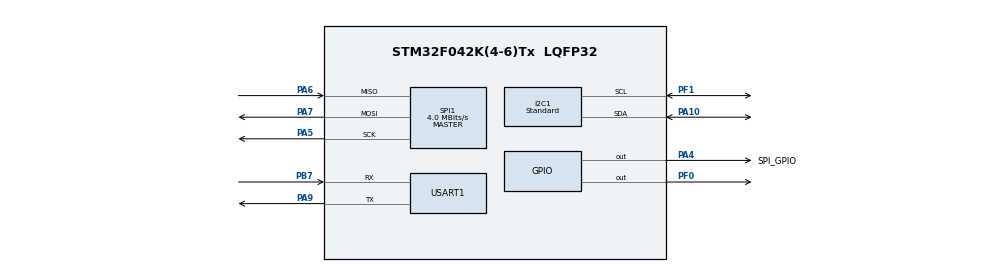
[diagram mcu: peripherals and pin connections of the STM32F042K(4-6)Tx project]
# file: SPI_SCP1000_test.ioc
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I2C1.Analog_Filter=I2C_ANALOGFILTER_DISABLE
I2C1.I2C_Speed_Mode=I2C_Standard
I2C1.Timing=0x00101D2D
Mcu.Family=STM32F0
Mcu.Name=STM32F042K(4-6)Tx
Mcu.Package=LQFP32
PA10.Mode=I2C
PA10.Signal=I2C1_SDA
PA4.GPIO_Label=SPI_GPIO
PA4.Signal=GPIO_Output
PA5.Mode=Full_Duplex_Master
PA5.Signal=SPI1_SCK
PA6.Mode=Full_Duplex_Master
PA6.Signal=SPI1_MISO
PA7.Mode=Full_Duplex_Master
PA7.Signal=SPI1_MOSI
PA9.Mode=Asynchronous
PA9.Signal=USART1_TX
PB7.Mode=Asynchronous
PB7.Signal=USART1_RX
PF0-OSC_IN.Signal=GPIO_Output
PF1-OSC_OUT.Mode=I2C
PF1-OSC_OUT.Signal=I2C1_SCL
ProjectManager.HeapSize=0x200
ProjectManager.StackSize=0x400
ProjectManager.TargetToolchain=SW4STM32
SPI1.CalculateBaudRate=4.0 MBits/s
SPI1.DataSize=SPI_DATASIZE_8BIT
SPI1.Direction=SPI_DIRECTION_2LINES
SPI1.Mode=SPI_MODE_MASTER
SPI1.NSSPMode=SPI_NSS_PULSE_DISABLE
SPI1.VirtualType=VM_MASTER
USART1.VirtualMode-Asynchronous=VM_ASYNC
board=custom

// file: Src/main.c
/**
  ******************************************************************************
  * @file           : main.c
  * @brief          : Main program body
  ******************************************************************************
  ** This notice applies to any and all portions of this file
  * that are not between comment pairs USER CODE BEGIN and
  * USER CODE END. Other portions of this file, whether
  * inserted by the user or by software development tools
  * are owned by their respective copyright owners.
  *
  * COPYRIGHT(c) 2018 STMicroelectronics
  *
  * Redistribution and use in source and binary forms, with or without modification,
  * are permitted provided that the following conditions are met:
  *   1. Redistributions of source code must retain the above copyright notice,
  *      this list of conditions and the following disclaimer.
  *   2. Redistributions in binary form must reproduce the above copyright notice,
  *      this list of conditions and the following disclaimer in the documentation
  *      and/or other materials provided with the distribution.
  *   3. Neither the name of STMicroelectronics nor the names of its contributors
  *      may be used to endorse or promote products derived from this software
  *      without specific prior written permission.
  *
  * THIS SOFTWARE IS PROVIDED BY THE COPYRIGHT HOLDERS AND CONTRIBUTORS "AS IS"
  * AND ANY EXPRESS OR IMPLIED WARRANTIES, INCLUDING, BUT NOT LIMITED TO, THE
  * IMPLIED WARRANTIES OF MERCHANTABILITY AND FITNESS FOR A PARTICULAR PURPOSE ARE
  * DISCLAIMED. IN NO EVENT SHALL THE COPYRIGHT HOLDER OR CONTRIBUTORS BE LIABLE
  * FOR ANY DIRECT, INDIRECT, INCIDENTAL, SPECIAL, EXEMPLARY, OR CONSEQUENTIAL
  * DAMAGES (INCLUDING, BUT NOT LIMITED TO, PROCUREMENT OF SUBSTITUTE GOODS OR
  * SERVICES; LOSS OF USE, DATA, OR PROFITS; OR BUSINESS INTERRUPTION) HOWEVER
  * CAUSED AND ON ANY THEORY OF LIABILITY, WHETHER IN CONTRACT, STRICT LIABILITY,
  * OR TORT (INCLUDING NEGLIGENCE OR OTHERWISE) ARISING IN ANY WAY OUT OF THE USE
  * OF THIS SOFTWARE, EVEN IF ADVISED OF THE POSSIBILITY OF SUCH DAMAGE.
  *
  ******************************************************************************
  */
#include "main.h"
#include "stm32f0xx_hal.h"

/* USER CODE BEGIN Includes */
#include <string.h>
/* USER CODE END Includes */

I2C_HandleTypeDef hi2c1;

SPI_HandleTypeDef hspi1;

UART_HandleTypeDef huart1;

/* USER CODE BEGIN PV */
/* Private variables ---------------------------------------------------------*/

/* USER CODE END PV */

void SystemClock_Config(void);
static void MX_GPIO_Init(void);
static void MX_I2C1_Init(void);
static void MX_USART1_UART_Init(void);
static void MX_SPI1_Init(void);

/* USER CODE BEGIN PFP */
/* Private function prototypes -----------------------------------------------*/
void LCD_Init();
int LCD_WriteData(uint8_t data);
void HelloWorld();
/* USER CODE END PFP */

int main(void)
{

  /* MCU Configuration----------------------------------------------------------*/

  /* Reset of all peripherals, Initializes the Flash interface and the Systick. */
  HAL_Init();

  /* Configure the system clock */
  SystemClock_Config();

  /* Initialize all configured peripherals */
  MX_GPIO_Init();
  MX_I2C1_Init();
  MX_USART1_UART_Init();
  MX_SPI1_Init();
  /* USER CODE BEGIN 2 */
  HAL_Delay(10);
  LCD_Init();
  HAL_Delay(10);

  char 	aRxBuffer[2];
  char 	aTxBuffer[2];
  uint8_t aSPITxBuffer[3];
  uint8_t aSPIRxBuffer[3];
  char  rxbuf[2];
  char  txbuf1[] = "Sensor Failed! \r\n";
  char  txbuf2[] = "Sensor Wakeup Successful! \r\n";
  char  txbuf3[] = "Data Received! \r\n";
  char 	str[32];
  HelloWorld();
  char oper = 0;
  char stat = 0;
  uint32_t pres = 0;
  int temp = 0;

  HAL_Delay(60);

  /* USER CODE END 2 */

  /* Infinite loop */
  while (1)
  {

  /* USER CODE BEGIN 3 */
	  if(oper == 0)
	  {
		  aSPITxBuffer[0] = (0x07<<2) | 0x00; // resister address and read/write bit

		  HAL_GPIO_WritePin(GPIOA,SPI_GPIO_Pin,0);
		  HAL_SPI_TransmitReceive(&hspi1,(uint8_t*)aSPITxBuffer,(uint8_t*)aSPIRxBuffer,2,2000);
		  HAL_GPIO_WritePin(GPIOA,SPI_GPIO_Pin,1);

		  HAL_UART_Transmit(&huart1, (uint8_t*)aSPIRxBuffer, sizeof(aSPIRxBuffer), 0xFFFF);
		  HAL_UART_Transmit(&huart1, "Data Received!\r\n", sizeof("Data Received!\r\n"), 0xFFFF);
		  HAL_Delay(10);

		  if(aSPIRxBuffer[1] & 0x01)
		  {
			  if(stat > 6)
				  HAL_UART_Transmit(&huart1, (uint8_t *)txbuf1, sizeof(txbuf1), 0xFFFF);
		  }else{
			  aSPITxBuffer[0] = (0x1F<<2) | 0x00; // resister address and read/write bit

			  HAL_GPIO_WritePin(GPIOA,SPI_GPIO_Pin,0);
			  HAL_SPI_TransmitReceive(&hspi1,(uint8_t*)aSPITxBuffer,(uint8_t*)aSPIRxBuffer,2,2000);
			  HAL_GPIO_WritePin(GPIOA,SPI_GPIO_Pin,1);

			  HAL_UART_Transmit(&huart1, "Data Received2!\r\n", sizeof("Data Received2!\r\n"), 0xFFFF);
			  HAL_UART_Transmit(&huart1, (uint8_t*)aSPIRxBuffer, sizeof(aSPIRxBuffer), 0xFFFF);
			  if(aSPIRxBuffer[1] & 0x01)
			  {
				  HAL_UART_Transmit(&huart1, (uint8_t *)txbuf2, sizeof(txbuf2), 0xFFFF);
				  aSPITxBuffer[0] = (0x03<<2) | 0x02; // resister address and read/write bit
				  aSPITxBuffer[1] = 0x0A; // data
				  HAL_GPIO_WritePin(GPIOA,SPI_GPIO_Pin,0);
				  HAL_SPI_TransmitReceive(&hspi1,(uint8_t*)aSPITxBuffer,(uint8_t*)aSPIRxBuffer,2,2000);
				  HAL_GPIO_WritePin(GPIOA,SPI_GPIO_Pin,1);
				  oper = 1;
			  }else{
				  HAL_UART_Transmit(&huart1, "not LSB=1!\r\n", sizeof("not LSB=1!\r\n"), 0xFFFF);
				  HAL_UART_Transmit(&huart1, (uint8_t *)txbuf1, sizeof(txbuf1), 0xFFFF);
			  }
		  }
	  }else{
		  aSPITxBuffer[0] = (0x1F<<2) | 0x00; // resister address and read/write bit
		  HAL_GPIO_WritePin(GPIOA,SPI_GPIO_Pin,0);
		  HAL_SPI_TransmitReceive(&hspi1,(uint8_t*)aSPITxBuffer,(uint8_t*)aSPIRxBuffer,2,2000);
		  HAL_GPIO_WritePin(GPIOA,SPI_GPIO_Pin,1);
		  pres = aSPITxBuffer[1] & 0x03;
		  aSPITxBuffer[0] = (0x20<<2) | 0x00; // resister address and read/write bit
		  HAL_GPIO_WritePin(GPIOA,SPI_GPIO_Pin,0);
		  HAL_SPI_TransmitReceive(&hspi1,(uint8_t*)aSPITxBuffer,(uint8_t*)aSPIRxBuffer,3,2000);
		  HAL_GPIO_WritePin(GPIOA,SPI_GPIO_Pin,1);

		  pres = (pres << 8) | aSPIRxBuffer[1];
		  pres = (pres << 8) | aSPIRxBuffer[2];
		  pres /= 4;

		  aSPITxBuffer[0] = (0x21<<2) | 0x00; // resister address and read/write bit
		  HAL_GPIO_WritePin(GPIOA,SPI_GPIO_Pin,0);
		  HAL_SPI_TransmitReceive(&hspi1,(uint8_t*)aSPITxBuffer,(uint8_t*)aSPIRxBuffer,3,2000);
		  HAL_GPIO_WritePin(GPIOA,SPI_GPIO_Pin,1);

		  temp = ((aSPIRxBuffer[1] & 0x20) << 18) | ((aSPIRxBuffer[1] & 0x1F) << 8) | aSPIRxBuffer[3];

		  sprintf(str, "TEMP: %6.2d Deg.\r\n", temp/20);
		  HAL_UART_Transmit(&huart1, (uint8_t *)str, sizeof(str), 0xFFFF);
		  sprintf(str, "PRES: %6.2d hPa\r\n", pres/100);
		  HAL_UART_Transmit(&huart1, (uint8_t *)str, sizeof(str), 0xFFFF);
	  }

  }
  /* USER CODE END 3 */

}

void SystemClock_Config(void)
{

  RCC_OscInitTypeDef RCC_OscInitStruct;
  RCC_ClkInitTypeDef RCC_ClkInitStruct;
  RCC_PeriphCLKInitTypeDef PeriphClkInit;

    /**Initializes the CPU, AHB and APB busses clocks
    */
  RCC_OscInitStruct.OscillatorType = RCC_OSCILLATORTYPE_HSI;
  RCC_OscInitStruct.HSIState = RCC_HSI_ON;
  RCC_OscInitStruct.HSICalibrationValue = 16;
  RCC_OscInitStruct.PLL.PLLState = RCC_PLL_NONE;
  if (HAL_RCC_OscConfig(&RCC_OscInitStruct) != HAL_OK)
  {
    _Error_Handler(__FILE__, __LINE__);
  }

    /**Initializes the CPU, AHB and APB busses clocks
    */
  RCC_ClkInitStruct.ClockType = RCC_CLOCKTYPE_HCLK|RCC_CLOCKTYPE_SYSCLK
                              |RCC_CLOCKTYPE_PCLK1;
  RCC_ClkInitStruct.SYSCLKSource = RCC_SYSCLKSOURCE_HSI;
  RCC_ClkInitStruct.AHBCLKDivider = RCC_SYSCLK_DIV1;
  RCC_ClkInitStruct.APB1CLKDivider = RCC_HCLK_DIV1;

  if (HAL_RCC_ClockConfig(&RCC_ClkInitStruct, FLASH_LATENCY_0) != HAL_OK)
  {
    _Error_Handler(__FILE__, __LINE__);
  }

  PeriphClkInit.PeriphClockSelection = RCC_PERIPHCLK_USART1|RCC_PERIPHCLK_I2C1;
  PeriphClkInit.Usart1ClockSelection = RCC_USART1CLKSOURCE_PCLK1;
  PeriphClkInit.I2c1ClockSelection = RCC_I2C1CLKSOURCE_HSI;
  if (HAL_RCCEx_PeriphCLKConfig(&PeriphClkInit) != HAL_OK)
  {
    _Error_Handler(__FILE__, __LINE__);
  }

    /**Configure the Systick interrupt time
    */
  HAL_SYSTICK_Config(HAL_RCC_GetHCLKFreq()/1000);

    /**Configure the Systick
    */
  HAL_SYSTICK_CLKSourceConfig(SYSTICK_CLKSOURCE_HCLK);

  /* SysTick_IRQn interrupt configuration */
  HAL_NVIC_SetPriority(SysTick_IRQn, 0, 0);
}

/* I2C1 init function */
static void MX_I2C1_Init(void)
{

  hi2c1.Instance = I2C1;
  hi2c1.Init.Timing = 0x00101D2D;
  hi2c1.Init.OwnAddress1 = 0;
  hi2c1.Init.AddressingMode = I2C_ADDRESSINGMODE_7BIT;
  hi2c1.Init.DualAddressMode = I2C_DUALADDRESS_DISABLE;
  hi2c1.Init.OwnAddress2 = 0;
  hi2c1.Init.OwnAddress2Masks = I2C_OA2_NOMASK;
  hi2c1.Init.GeneralCallMode = I2C_GENERALCALL_DISABLE;
  hi2c1.Init.NoStretchMode = I2C_NOSTRETCH_DISABLE;
  if (HAL_I2C_Init(&hi2c1) != HAL_OK)
  {
    _Error_Handler(__FILE__, __LINE__);
  }

    /**Configure Analogue filter
    */
  if (HAL_I2CEx_ConfigAnalogFilter(&hi2c1, I2C_ANALOGFILTER_DISABLE) != HAL_OK)
  {
    _Error_Handler(__FILE__, __LINE__);
  }

    /**Configure Digital filter
    */
  if (HAL_I2CEx_ConfigDigitalFilter(&hi2c1, 0) != HAL_OK)
  {
    _Error_Handler(__FILE__, __LINE__);
  }

}

/* SPI1 init function */
static void MX_SPI1_Init(void)
{

  /* SPI1 parameter configuration*/
  hspi1.Instance = SPI1;
  hspi1.Init.Mode = SPI_MODE_MASTER;
  hspi1.Init.Direction = SPI_DIRECTION_2LINES;
  hspi1.Init.DataSize = SPI_DATASIZE_8BIT;
  hspi1.Init.CLKPolarity = SPI_POLARITY_LOW;
  hspi1.Init.CLKPhase = SPI_PHASE_1EDGE;
  hspi1.Init.NSS = SPI_NSS_SOFT;
  hspi1.Init.BaudRatePrescaler = SPI_BAUDRATEPRESCALER_2;
  hspi1.Init.FirstBit = SPI_FIRSTBIT_MSB;
  hspi1.Init.TIMode = SPI_TIMODE_DISABLE;
  hspi1.Init.CRCCalculation = SPI_CRCCALCULATION_DISABLE;
  hspi1.Init.CRCPolynomial = 7;
  hspi1.Init.CRCLength = SPI_CRC_LENGTH_DATASIZE;
  hspi1.Init.NSSPMode = SPI_NSS_PULSE_DISABLE;
  if (HAL_SPI_Init(&hspi1) != HAL_OK)
  {
    _Error_Handler(__FILE__, __LINE__);
  }

}

/* USART1 init function */
static void MX_USART1_UART_Init(void)
{

  huart1.Instance = USART1;
  huart1.Init.BaudRate = 38400;
  huart1.Init.WordLength = UART_WORDLENGTH_8B;
  huart1.Init.StopBits = UART_STOPBITS_1;
  huart1.Init.Parity = UART_PARITY_NONE;
  huart1.Init.Mode = UART_MODE_TX_RX;
  huart1.Init.HwFlowCtl = UART_HWCONTROL_NONE;
  huart1.Init.OverSampling = UART_OVERSAMPLING_16;
  huart1.Init.OneBitSampling = UART_ONE_BIT_SAMPLE_DISABLE;
  huart1.AdvancedInit.AdvFeatureInit = UART_ADVFEATURE_NO_INIT;
  if (HAL_UART_Init(&huart1) != HAL_OK)
  {
    _Error_Handler(__FILE__, __LINE__);
  }

}

/** Configure pins as
        * Analog
        * Input
        * Output
        * EVENT_OUT
        * EXTI
*/
static void MX_GPIO_Init(void)
{

  GPIO_InitTypeDef GPIO_InitStruct;

  /* GPIO Ports Clock Enable */
  __HAL_RCC_GPIOF_CLK_ENABLE();
  __HAL_RCC_GPIOA_CLK_ENABLE();
  __HAL_RCC_GPIOB_CLK_ENABLE();

  /*Configure GPIO pin Output Level */
  HAL_GPIO_WritePin(GPIOF, GPIO_PIN_0, GPIO_PIN_RESET);

  /*Configure GPIO pin Output Level */
  HAL_GPIO_WritePin(SPI_GPIO_GPIO_Port, SPI_GPIO_Pin, GPIO_PIN_RESET);

  /*Configure GPIO pin : PF0 */
  GPIO_InitStruct.Pin = GPIO_PIN_0;
  GPIO_InitStruct.Mode = GPIO_MODE_OUTPUT_PP;
  GPIO_InitStruct.Pull = GPIO_NOPULL;
  GPIO_InitStruct.Speed = GPIO_SPEED_FREQ_LOW;
  HAL_GPIO_Init(GPIOF, &GPIO_InitStruct);

  /*Configure GPIO pin : SPI_GPIO_Pin */
  GPIO_InitStruct.Pin = SPI_GPIO_Pin;
  GPIO_InitStruct.Mode = GPIO_MODE_OUTPUT_PP;
  GPIO_InitStruct.Pull = GPIO_NOPULL;
  GPIO_InitStruct.Speed = GPIO_SPEED_FREQ_LOW;
  HAL_GPIO_Init(SPI_GPIO_GPIO_Port, &GPIO_InitStruct);

}

/* USER CODE BEGIN 4 */
int LCD_WriteInstraction(uint8_t data)
{
    uint8_t buf[] = { 0x00, data };
    int status = HAL_I2C_Master_Transmit(&hi2c1, 0x7c, buf, 2, 1000);
    HAL_Delay(1);
    return status == HAL_OK;
}

// LCD の初期化
void LCD_Init()
{
    LCD_WriteInstraction(0x38);     // Function set
    LCD_WriteInstraction(0x39);     // Function set
    LCD_WriteInstraction(0x14);     // Internal OSC frequency
    LCD_WriteInstraction(0x70);     // Contrast set
    LCD_WriteInstraction(0x56);     // Power/ICON/Contrast set
    LCD_WriteInstraction(0x6c);     // Follower control
    HAL_Delay(200);
    LCD_WriteInstraction(0x38);     // Function set
    LCD_WriteInstraction(0x0c);     // Display ON/OFF control
    LCD_WriteInstraction(0x01);     // Clear Display
    HAL_Delay(1);
}

// DDRAM への書き込み
int LCD_WriteData(uint8_t data)
{
    uint8_t buf[] = { 0x40, data };
    int status = HAL_I2C_Master_Transmit(&hi2c1, 0x7c, buf, 2, 1000);
    HAL_Delay(1);
    return status == HAL_OK;
}

// 文字列の出力
void Puts(const char *p)
{
    for ( ; *p ; p++)
    {
        LCD_WriteData(*p);
    }
}

// Hello, world! の表示
void HelloWorld()
{
	LCD_WriteInstraction(0x80 | 0x00);
    Puts("HAL");
    LCD_WriteInstraction(0x80 | 0x40);  // 2 行目の先頭に移動
    Puts("world!");
}

/* USER CODE END 4 */

void _Error_Handler(char *file, int line)
{
  while(1)
  {
  }
}

/************************ (C) COPYRIGHT STMicroelectronics *****END OF FILE****/
